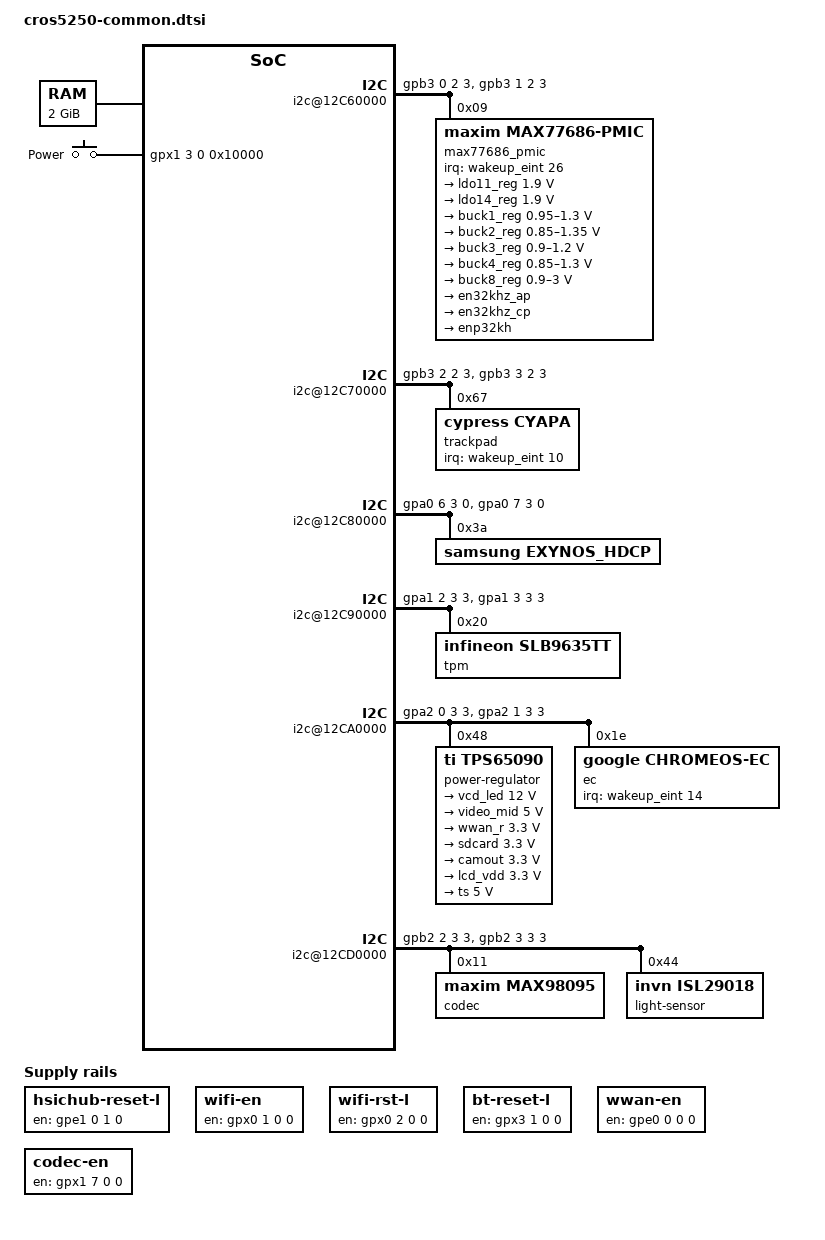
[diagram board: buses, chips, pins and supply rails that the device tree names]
/*
 * Common device tree include for all Exynos 5250 boards based off of Daisy.
 *
 * Copyright (c) 2012 Google, Inc
 *
 * This program is free software; you can redistribute it and/or modify
 * it under the terms of the GNU General Public License version 2 as
 * published by the Free Software Foundation.
*/

/ {
	memory {
		reg = <0x40000000 0x80000000>;
	};

	chosen {
	};

	aliases {
		sysmmu2 = &sysmmu_2;
		sysmmu3 = &sysmmu_3;
		sysmmu4 = &sysmmu_4;
		sysmmu27 = &sysmmu_27;
		sysmmu28 = &sysmmu_28;
		sysmmu23 = &sysmmu_23;
		sysmmu24 = &sysmmu_24;
		sysmmu25 = &sysmmu_25;
		sysmmu26 = &sysmmu_26;
		gsc0 = &gsc_0;
		gsc1 = &gsc_1;
		gsc2 = &gsc_2;
		gsc3 = &gsc_3;
		i2s0 = &i2s_0;
	};

	i2c@12C60000 {
		samsung,i2c-sda-delay = <100>;
		samsung,i2c-max-bus-freq = <378000>;
		gpios = <&gpb3 0 2 3 0>,
			<&gpb3 1 2 3 0>;

		max77686_pmic@9 {
			compatible = "maxim,max77686-pmic";
			interrupt-parent = <&wakeup_eint>;
			interrupts = <26 0>;
			reg = <0x9>;

			max77686,buck_ramp_delay = <2>;		/* default */

			voltage-regulators {
				ldo11_reg: LDO11 {
					regulator-name = "vdd_ldo11";
					regulator-min-microvolt = <1900000>;
					regulator-max-microvolt = <1900000>;
					regulator-always-on;
				};

				ldo14_reg: LDO14 {
					regulator-name = "vdd_ldo14";
					regulator-min-microvolt = <1900000>;
					regulator-max-microvolt = <1900000>;
					regulator-always-on;
				};

				buck1_reg: BUCK1 {
					regulator-name = "vdd_mif";
					regulator-min-microvolt = <950000>;
					regulator-max-microvolt = <1300000>;
					regulator-always-on;
					regulator-boot-on;
				};

				buck2_reg: BUCK2 {
					regulator-name = "vdd_arm";
					regulator-min-microvolt = <850000>;
					regulator-max-microvolt = <1350000>;
					regulator-always-on;
					regulator-boot-on;
				};

				buck3_reg: BUCK3 {
					regulator-name = "vdd_int";
					regulator-min-microvolt = <900000>;
					regulator-max-microvolt = <1200000>;
					regulator-always-on;
					regulator-boot-on;
				};

				buck4_reg: BUCK4 {
					regulator-name = "vdd_g3d";
					regulator-min-microvolt = <850000>;
					regulator-max-microvolt = <1300000>;
					regulator-boot-on;
				};

				buck8_reg: BUCK8 {
					regulator-name = "vdd_ummc";
					regulator-min-microvolt = <900000>;
					regulator-max-microvolt = <3000000>;
					regulator-always-on;
					regulator-boot-on;
				};

				en32khz_ap: EN32KHZ_AP {
					regulator-name = "en32khz_ap";
					regulator-boot-on;
				};

				en32khz_cp: EN32KHZ_CP {
					regulator-name = "en32khz_cp";
					regulator-boot-on;
				};

				enp32kh: ENP32KHZ {
					regulator-name = "enp32khz";
					regulator-boot-on;
				};
			};
		};
	};

	i2c@12C70000 {
		samsung,i2c-sda-delay = <100>;
		samsung,i2c-max-bus-freq = <66000>;
		gpios = <&gpb3 2 2 3 0>,
			<&gpb3 3 2 3 0>;

		trackpad {
			reg = <0x67>;
			compatible = "cypress,cyapa";
			interrupts = <10 0>;
			interrupt-parent = <&wakeup_eint>;
		};
	};

	i2c@12C80000 {
		samsung,i2c-sda-delay = <100>;
		samsung,i2c-max-bus-freq = <66000>;

		/*
		 * Disabled pullups since external part has its own pullups and
		 * double-pulling gets us out of spec in some cases.
		 */
		gpios = <&gpa0 6 3 0 0>,
			<&gpa0 7 3 0 0>;

		exynos_hdcp@3a {
			compatible = "samsung,exynos_hdcp";
			reg = <0x3a>;
		};
	};

	i2c@12C90000 {
		samsung,i2c-sda-delay = <100>;
		samsung,i2c-max-bus-freq = <66000>;
		gpios = <&gpa1 2 3 3 0>,
			<&gpa1 3 3 3 0>;

		tpm {
			compatible = "infineon,slb9635tt";
			reg = <0x20>;
		};
	};

	i2c@12CA0000 {
		samsung,i2c-sda-delay = <100>;
		samsung,i2c-max-bus-freq = <66000>;
		gpios = <&gpa2 0 3 3 0>,
			<&gpa2 1 3 3 0>;

		power-regulator {
			compatible = "ti,tps65090";
			reg = <0x48>;

			voltage-regulators {
				VFET1 {
					tps65090-control-reg-offset = <15>;
					regulator-name = "vcd_led";
					regulator-min-microvolt = <12000000>;
					regulator-max-microvolt = <12000000>;
				};
				VFET2 {
					tps65090-control-reg-offset = <16>;
					regulator-name = "video_mid";
					regulator-min-microvolt = <5000000>;
					regulator-max-microvolt = <5000000>;
					regulator-always-on;
				};
				VFET3 {
					tps65090-control-reg-offset = <17>;
					regulator-name = "wwan_r";
					regulator-min-microvolt = <3300000>;
					regulator-max-microvolt = <3300000>;
					regulator-always-on;
				};
				VFET4 {
					tps65090-control-reg-offset = <18>;
					regulator-name = "sdcard";
					regulator-min-microvolt = <3300000>;
					regulator-max-microvolt = <3300000>;
				};
				VFET5 {
					tps65090-control-reg-offset = <19>;
					regulator-name = "camout";
					regulator-min-microvolt = <3300000>;
					regulator-max-microvolt = <3300000>;
					regulator-always-on;
				};
				VFET6 {
					tps65090-control-reg-offset = <20>;
					regulator-name = "lcd_vdd";
					regulator-min-microvolt = <3300000>;
					regulator-max-microvolt = <3300000>;
				};
				VFET7 {
					tps65090-control-reg-offset = <21>;
					regulator-name = "ts";
					regulator-min-microvolt = <5000000>;
					regulator-max-microvolt = <5000000>;
				};
			};
		};

                ec {
			compatible = "google,chromeos-ec";
                        reg = <0x1e>;
                        interrupts = <14 0>;
			interrupt-parent = <&wakeup_eint>;
                };

		// i2c4 hsic hub @0x8, eeprom @0x50, batt @0xb
	};

	i2c@12CB0000 {
		samsung,i2c-sda-delay = <100>;
		samsung,i2c-max-bus-freq = <66000>;
		gpios = <&gpa2 2 3 3 0>,
			<&gpa2 3 3 3 0>;

		// i2c5 conn? ts?
	};

	i2c@12CC0000 {
		status = "disabled";

		// i2c6 is not used on any cros5250 boards
	};

	i2c@12CD0000 {
		samsung,i2c-sda-delay = <100>;
		samsung,i2c-max-bus-freq = <66000>;
		gpios = <&gpb2 2 3 3 0>,
			<&gpb2 3 3 3 0>;

		codec {
			compatible = "maxim,max98095";
			reg = <0x11>;
		};

		light-sensor {
			compatible = "invn,isl29018";
			reg = <0x44>;
		};

		// i2c7
		// mipi cam  codec 0x11 gyro @0x68
		// LCD @0x50-57 ALS @? mic-detect @0x3b
	};

	spi_0: spi@12d20000 {
		status = "disabled";
	};

	spi_1: spi@12d30000 {
		gpios = <&gpa2 4 2 3 0>,
			<&gpa2 6 2 3 0>,
			<&gpa2 7 2 3 0>;
		samsung,spi-src-clk = <0>;
		num-cs = <1>;
	};

	spi_2: spi@12d40000 {
		status = "disabled";
	};

	dwmmc0@12200000 {
		supports-highspeed;
		card-detection-broken;
		no-write-protect;
		fifo-depth = <0x80>;
		card-detect-delay = <200>;
		samsung,dw-mshc-sdr-timing = <2 3 3>;
		samsung,dw-mshc-ddr-timing = <1 2 3>;

		slot0 {
			bus-width = <8>;
			cd-gpios = <&gpc0 2 2 3 3>;
			gpios = <&gpc0 0 2 0 3>, <&gpc0 1 2 0 3>,
				<&gpc1 0 2 3 3>, <&gpc1 1 2 3 3>,
				<&gpc1 2 2 3 3>, <&gpc1 3 2 3 3>,
				<&gpc0 3 2 3 3>, <&gpc0 4 2 3 3>,
				<&gpc0 5 2 3 3>, <&gpc0 6 2 3 3>;
		};
	};

	dwmmc1@12210000 {
		status = "disabled";
	};

	dwmmc2@12220000 {
		supports-highspeed;
		card-detection-broken;
		no-write-protect;
		fifo-depth = <0x80>;
		card-detect-delay = <200>;
		samsung,dw-mshc-sdr-timing = <2 3 3>;
		samsung,dw-mshc-ddr-timing = <1 2 3>;

		slot0 {
			bus-width = <4>;
			cd-gpios = <&gpc3 2 2 3 3>;
			gpios = <&gpc3 1 2 0 3>, <&gpc3 0 2 0 3>,
				<&gpc3 3 2 3 3>, <&gpc3 4 2 3 3>,
				<&gpc3 5 2 3 3>, <&gpc3 6 2 3 3>;
		};
	};

	dwmmc3@12230000 {
		supports-highspeed;
		card-detection-broken;
		no-write-protect;
		fifo-depth = <0x80>;
		card-detect-delay = <200>;
		samsung,dw-mshc-sdr-timing = <2 3 3>;
		samsung,dw-mshc-ddr-timing = <1 2 3>;

		slot0 {
			bus-width = <4>;
			gpios = <&gpc4 1 2 3 3>, <&gpc4 0 2 0 3>,
				<&gpc4 3 2 3 3>, <&gpc4 4 2 3 3>,
				<&gpc4 5 2 3 3>, <&gpc4 6 2 3 3>;
		};
	};

	i2c@12CE0000 {
		samsung,i2c-sda-delay = <100>;
		samsung,i2c-max-bus-freq = <66000>;
	};

	ehci {
		samsung,vbus-gpio = <&gpx1 1 1 3 3>;
	};

	xhci {
		samsung,vbus-gpio = <&gpx2 7 1 3 3>;
	};

	fixed-regulator {
		compatible = "regulator-fixed";
		regulator-name = "hsichub-reset-l";
		gpio = <&gpe1 0 1 0 0>;
		enable-active-high;
		regulator-always-on;
	};

	// NB: nodes must be at root for regulator-fixed to probe
	// NB: must set regulator-boot-on for enable-active-high to be used
	// NB: set regulator-always-on to suppress complaints
	//     "incomplete constraints, leaving on"
	wifi-en {
		compatible = "regulator-fixed";
		regulator-name = "wifi-en";
		gpio = <&gpx0 1 0 0 0>;
		enable-active-high;
		regulator-boot-on;
		regulator-always-on;
	};
	wifi-rst {
		compatible = "regulator-fixed";
		regulator-name = "wifi-rst-l";
		gpio = <&gpx0 2 0 0 0>;
		enable-active-high;
		regulator-boot-on;
		regulator-always-on;
	};
	bt-rst {
		compatible = "regulator-fixed";
		regulator-name = "bt-reset-l";
		gpio = <&gpx3 1 0 0 0>;
		enable-active-high;
		regulator-boot-on;
		regulator-always-on;
	};
	wwan-en {
		compatible = "regulator-fixed";
		regulator-name = "wwan-en";
		gpio = <&gpe0 0 0 0 0>;
		enable-active-high;
		regulator-boot-on;
		regulator-always-on;
	};
	max98095-en {
		compatible = "regulator-fixed";
		regulator-name = "codec-en";
		gpio = <&gpx1 7 0 0 0>;
		enable-active-high;
		regulator-boot-on;
		regulator-always-on;
	};

	gpio-keys {
		compatible = "gpio-keys";

		power {
			label = "Power";
			gpios = <&gpx1 3 0 0x10000 0>;
			linux,code = <116>; /* KEY_POWER */
			gpio-key,wakeup;
		};
	};
};
